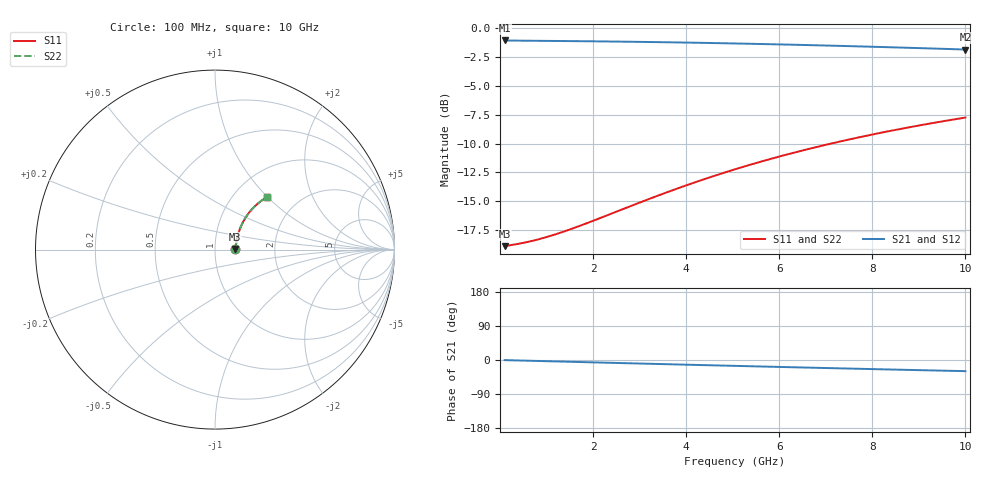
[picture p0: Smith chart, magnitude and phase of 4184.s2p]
# Hz S RI R 50.00
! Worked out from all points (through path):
!   100 points, 100 MHz to 10 GHz, reference 50 ohm
!   highest |S21| = -1.05 dB at 100 MHz (marker M1); lowest = -1.8 dB at 10 GHz (marker M2)
!   group delay of S21, straight-line fit = 8.2 ps
!   lowest |S11| = -18.9 dB at 100 MHz (marker M3), VSWR 1.26, Z = 62.8 + j0.483 ohm
!   |S11| at or under -10 dB: start of sweep to 7.11 GHz
!   |S22| runs from -18.9 to -7.7 dB; largest |S21 - S12| = 0
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1e8  0.1134 0.00379  0.8866 -0.00484  0.8866 -0.00484  0.1134 0.00379
5e8  0.1158 0.0189  0.8842 -0.0241  0.8842 -0.0241  0.1158 0.0189
7e8  0.1168 0.0264  0.8832 -0.0337  0.8832 -0.0337  0.1168 0.0264
9e8  0.1179 0.0338  0.882 -0.0433  0.882 -0.0433  0.1179 0.0338
1.1e9  0.1191 0.0413  0.8808 -0.0528  0.8808 -0.0528  0.1191 0.0413
1.3e9  0.1204 0.0486  0.8795 -0.0623  0.8795 -0.0623  0.1204 0.0486
1.8e9  0.1242 0.067  0.8756 -0.0859  0.8756 -0.0859  0.1242 0.067
2.6e9  0.1321 0.0957  0.8675 -0.123  0.8675 -0.123  0.1321 0.0957
3.4e9  0.1421 0.1234  0.8572 -0.1592  0.8572 -0.1592  0.1421 0.1234
3.9e9  0.1495 0.1401  0.8496 -0.1812  0.8496 -0.1812  0.1495 0.1401
4.3e9  0.156 0.1531  0.8429 -0.1984  0.8429 -0.1984  0.156 0.1531
4.7e9  0.1629 0.1657  0.8358 -0.2152  0.8358 -0.2152  0.1629 0.1657
5.1e9  0.1703 0.178  0.8281 -0.2317  0.8281 -0.2317  0.1703 0.178
5.5e9  0.1782 0.1898  0.82 -0.2478  0.82 -0.2478  0.1782 0.1898
5.9e9  0.1864 0.2012  0.8115 -0.2635  0.8115 -0.2635  0.1864 0.2012
6.3e9  0.1951 0.2122  0.8025 -0.2787  0.8025 -0.2787  0.1951 0.2122
6.7e9  0.2041 0.2228  0.7932 -0.2935  0.7932 -0.2935  0.2041 0.2228
7.5e9  0.2231 0.2425  0.7735 -0.3217  0.7735 -0.3217  0.2231 0.2425
7.9e9  0.233 0.2516  0.7632 -0.3351  0.7632 -0.3351  0.233 0.2516
8.4e9  0.2458 0.2623  0.75 -0.3512  0.75 -0.3512  0.2458 0.2623
9.2e9  0.2669 0.2779  0.7281 -0.3754  0.7281 -0.3754  0.2669 0.2779
1e10  0.2886 0.2916  0.7054 -0.3976  0.7054 -0.3976  0.2886 0.2916
